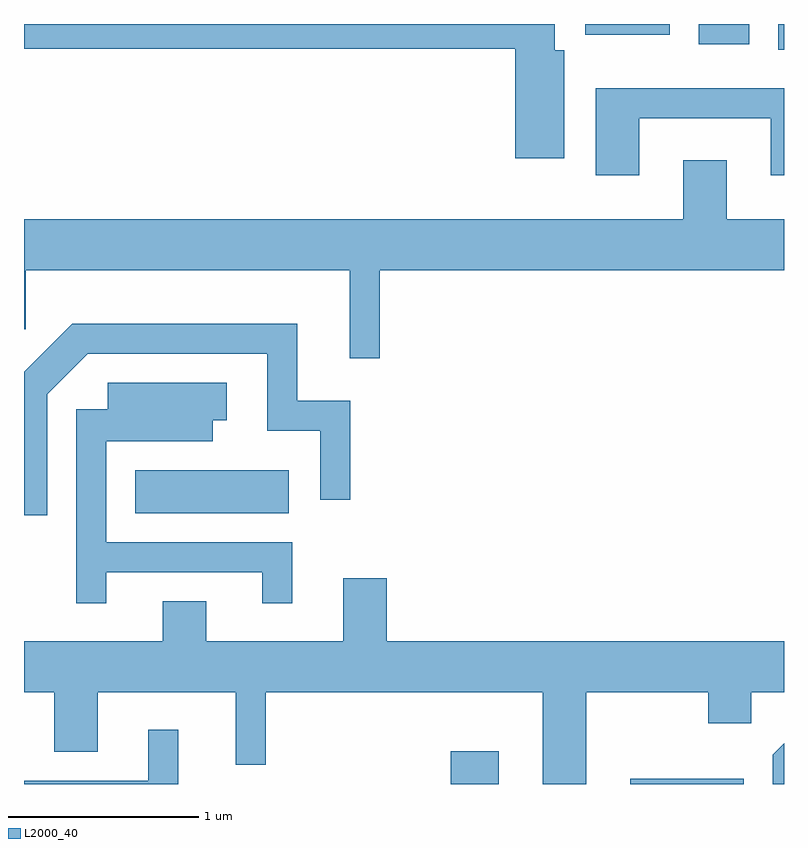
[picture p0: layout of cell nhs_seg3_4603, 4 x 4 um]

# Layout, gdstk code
import gdstk
lib = gdstk.Library(unit=1e-6, precision=1e-09)
def R(c, l, rs):  # rectangles x0, y0, x1, y1
    for r in rs: c.add(gdstk.rectangle(r[:2], r[2:], *l))
def P(c, l, *ps):  # polygons
    for p in ps: c.add(gdstk.Polygon(p, *l))
L2000_40 = (2000, 40)

nhs_seg3_4603 = lib.new_cell('nhs_seg3_4603')
R(nhs_seg3_4603, L2000_40, [(321.856,1209.892,322.109,1210.064), (322.801,1209.892,323.399,1209.919), (320.196,1211.316,321.004,1211.544), (323.581,1213.756,323.611,1213.892), (323.161,1213.786,323.429,1213.892), (322.566,1213.836,323.009,1213.892)])
P(nhs_seg3_4603, L2000_40, [(322.454,1213.754),(322.404,1213.754),(322.404,1213.892),(319.611,1213.892),(319.611,1213.761),(322.196,1213.761),(322.196,1213.186),(322.454,1213.186)],
  [(322.849,1213.396),(323.541,1213.396),(323.541,1213.096),(323.611,1213.096),(323.611,1213.554),(322.621,1213.554),(322.621,1213.096),(322.849,1213.096)],
  [(321.484,1212.596),(323.611,1212.596),(323.611,1212.864),(323.309,1212.864),(323.309,1213.174),(323.081,1213.174),(323.081,1212.864),(319.611,1212.864),(319.611,1212.286),(319.619,1212.286),(319.619,1212.596),(321.326,1212.596),(321.326,1212.133),(321.484,1212.133)],
  [(319.734,1211.944),(319.947,1212.156),(320.891,1212.156),(320.891,1211.751),(321.171,1211.751),(321.171,1211.388),(321.329,1211.388),(321.329,1211.909),(321.049,1211.909),(321.049,1212.314),(319.864,1212.314),(319.611,1212.062),(319.611,1211.306),(319.734,1211.306)],
  [(320.044,1211.006),(320.866,1211.006),(320.866,1210.843),(321.024,1210.843),(321.024,1211.164),(320.044,1211.164),(320.044,1211.696),(320.604,1211.696),(320.604,1211.806),(320.679,1211.806),(320.679,1212.004),(320.051,1212.004),(320.051,1211.864),(319.886,1211.864),(319.886,1210.843),(320.044,1210.843)],
  [(322.569,1210.376),(323.211,1210.376),(323.211,1210.211),(323.439,1210.211),(323.439,1210.376),(323.611,1210.376),(323.611,1210.644),(321.519,1210.644),(321.519,1210.974),(321.291,1210.974),(321.291,1210.644),(320.569,1210.644),(320.569,1210.854),(320.341,1210.854),(320.341,1210.644),(319.611,1210.644),(319.611,1210.376),(319.771,1210.376),(319.771,1210.061),(319.999,1210.061),(319.999,1210.376),(320.726,1210.376),(320.726,1209.993),(320.884,1209.993),(320.884,1210.376),(322.341,1210.376),(322.341,1209.892),(322.569,1209.892)],
  [(320.424,1210.178),(320.266,1210.178),(320.266,1209.909),(319.611,1209.909),(319.611,1209.892),(320.424,1209.892)],
  [(323.611,1210.107),(323.551,1210.047),(323.551,1209.892),(323.611,1209.892)])

lib.write_gds('nhs_seg3_4603.gds')
